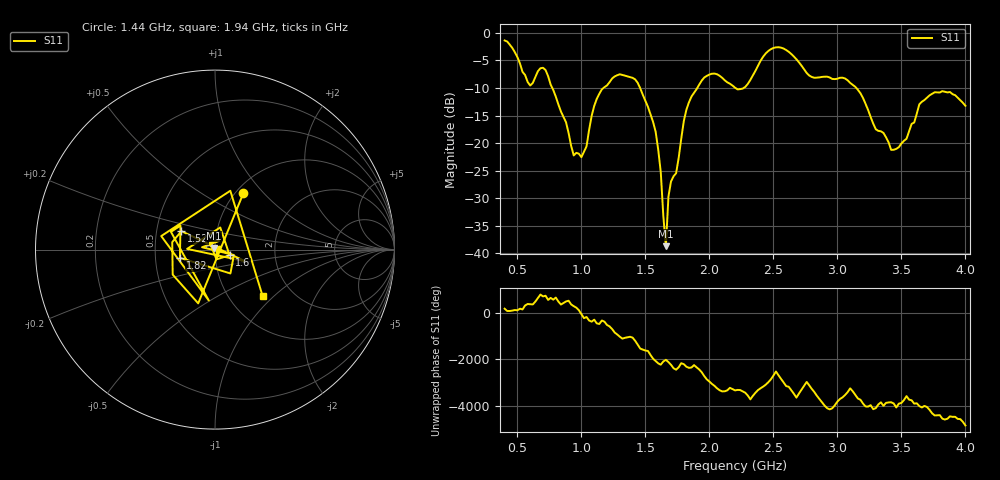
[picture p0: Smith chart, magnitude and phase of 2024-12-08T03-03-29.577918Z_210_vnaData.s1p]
!Created with skrf (http://scikit-rf.org).
# Hz S RI R 50.0
!freq ReS11 ImS11
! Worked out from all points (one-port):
!   181 points, 400 MHz to 4 GHz, reference 50 ohm
!   lowest |S11| = -38.7 dB at 1.66 GHz (marker M1), VSWR 1.02, Z = 49.2 + j0.867 ohm
!   |S11| at or under -10 dB: 772.6 MHz to 1.172 GHz (399.4 MHz wide, 41.1 % of centre); 1.459 GHz to 1.905 GHz (446.3 MHz wide, 26.5 % of centre); 3.148 GHz to end of sweep (the widest 3 of 4)
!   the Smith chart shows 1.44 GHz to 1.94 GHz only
!   S11 on the Smith chart (normalised r, x): 1.44 GHz: 1.08, +0.78; 1.52 GHz: 0.67, +0.14; 1.6 GHz: 1.17, -0.08; 1.82 GHz: 0.67, -0.06; 1.94 GHz: 1.42, -0.85
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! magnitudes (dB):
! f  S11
! 400 MHz  -1.4
! 600 MHz  -9.5
! 720 MHz  -6.7
! 860 MHz  -15.2
! 940 MHz  -22.2
! 1 GHz  -22.6
! 1.12 GHz  -12.0
! 1.3 GHz  -7.5
! 1.44 GHz  -9.1
! 1.52 GHz  -13.4
! 1.6 GHz  -21.2
! 1.62 GHz  -25.3
! 1.66 GHz  -38.7
! 1.68 GHz  -29.7
! 1.76 GHz  -22.7
! 1.82 GHz  -13.9
! 1.94 GHz  -8.6
! 2.2 GHz  -9.9
! 2.28 GHz  -9.8
! 2.48 GHz  -2.9
! 2.66 GHz  -4.3
! 2.8 GHz  -8.0
! 3.1 GHz  -9.1
! 3.42 GHz  -21.2
! 3.56 GHz  -17.9
! 3.64 GHz  -13.0
! 3.76 GHz  -10.8
! 4 GHz  -13.2
